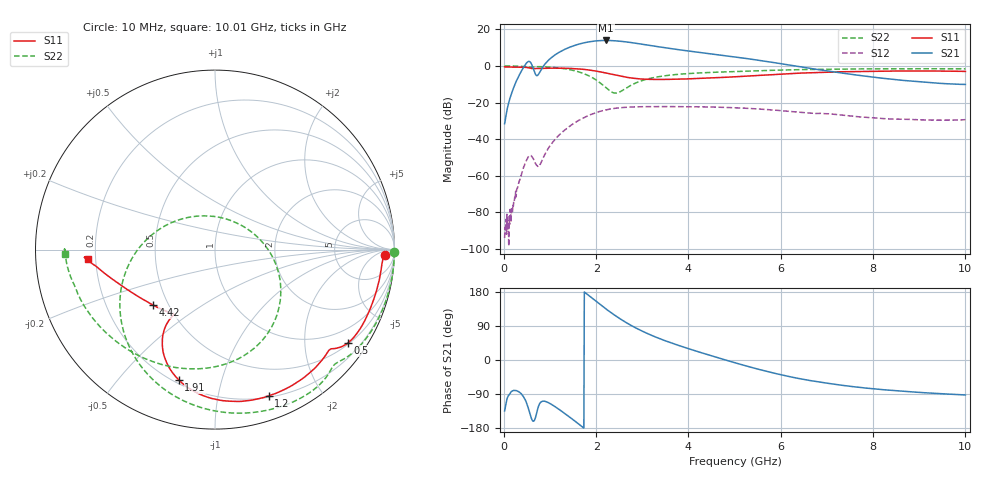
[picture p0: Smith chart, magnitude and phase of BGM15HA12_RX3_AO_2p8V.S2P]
!Agilent Technologies,E5071C,MY46317100,A.11.08
!Date: Fri Dec 12 16:24:41 2014
!Data & Calibration Information:
!Freq	S11:SOLT2(ON)	S21:SOLT2(ON)	S12:SOLT2(ON)	S22:SOLT2(ON)
!PortZ  Port1:50+j0  Port2:50+j0
!Above PortZ is port z conversion or system Z0 setting when saving the data.
!When reading, reference impedance value at option line is always used.
# Hz S MA R 50
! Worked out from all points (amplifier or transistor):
!   1001 points, 10 MHz to 10.01 GHz, reference 50 ohm
!   highest |S21| = 13.9 dB at 2.21 GHz (marker M1)
!   |S21| within 3 dB of that: 1.494 GHz to 3.235 GHz (1.741 GHz wide, 73.6 % of centre)
!   unconditionally stable (mu >= 1): start of sweep to 17.11 MHz; 20.36 MHz to end of sweep
!   at 1.67 GHz: K = 1.22, MAG = 17.8 dB, |S12| = -29.0 dB
!   at 5.01 GHz: K = 1.73, MAG = 8.9 dB, |S12| = -22.9 dB
!   at 10.01 GHz: K = 7.64, MAG = -2.2 dB, |S12| = -29.3 dB
!   lowest NFmin = 0.98 dB at 1.45 GHz
!   S11 on the Smith chart (normalised r, x): 10 MHz: 26, -16; 500 MHz: 0.54, -3.08; 1.2 GHz: 0.21, -1.41; 1.91 GHz: 0.22, -0.74; 4.42 GHz: 0.41, -0.32; 10.01 GHz: 0.17, -0.04
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1e7  0.9452 -2.0  0.02643 -134.5  1.985e-05 63.5  0.9999 -0.8
1.5e8  0.9307 -10.6  0.1618 -84.1  5.476e-05 161.1  0.9964 -12.4
3.5e8  0.9243 -24.1  0.6356 -86.6  0.0008685 -166.3  0.9796 -29.1
5e8  0.9045 -35.1  1.252 -118.1  0.00289 169.3  0.9383 -40.9
5.8e8  0.8611 -39.8  1.219 -150.0  0.003555 136.9  0.9256 -45.0
6.7e8  0.8489 -42.5  0.632 -155.6  0.002279 122.1  0.9499 -51.4
8.9e8  0.8665 -53.4  1.141 -109.2  0.003959 -175.2  0.9434 -70.4
1.2e9  0.8687 -69.8  2.378 -131.0  0.01314 172.9  0.8758 -97.3
1.44e9  0.8537 -82.3  3.312 -152.3  0.02335 156.4  0.7838 -119.5
1.68e9  0.8163 -94.6  4.133 -174.9  0.03585 138.1  0.6488 -144.0
1.91e9  0.7537 -105.6  4.695 163.0  0.04869 119.8  0.4813 -171.2
2.21e9  0.6399 -116.8  4.97 134.7  0.06309 96.0  0.2537 138.1
2.42e9  0.5603 -121.3  4.848 116.4  0.0699 80.7  0.1811 74.9
2.64e9  0.494 -123.0  4.548 99.3  0.07402 66.4  0.2447 17.4
2.98e9  0.4392 -122.4  3.948 77.1  0.07685 48.4  0.3924 -23.4
3.35e9  0.4266 -122.8  3.341 57.6  0.07758 32.8  0.508 -47.9
3.81e9  0.4362 -127.6  2.754 37.5  0.077 16.8  0.5952 -69.5
4.42e9  0.4635 -138.3  2.193 14.0  0.0757 -1.5  0.6597 -93.1
5.01e9  0.506 -149.6  1.76 -7.3  0.07199 -17.7  0.7044 -114.3
6.68e9  0.6551 -170.7  0.8445 -55.0  0.05119 -49.9  0.8015 -161.5
8.35e9  0.724 -176.2  0.4404 -79.6  0.03568 -63.1  0.8348 -178.8
1.001e10  0.7084 -175.8  0.312 -92.3  0.03413 -61.8  0.8351 -178.2
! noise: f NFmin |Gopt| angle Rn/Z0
1.45e+09  0.981  0.451  70.49  0.2065
1.5e+09  0.999  0.442  71.06  0.205
1.7e+09  1.025  0.4184  76.07  0.2003
1.85e+09  1.04  0.4256  81.79  0.202
1.9e+09  1.062  0.4219  84.31  0.1948
2.1e+09  1.084  0.4312  87.77  0.1896
2.3e+09  1.123  0.4329  92.23  0.1842
2.4e+09  1.137  0.4336  94.7  0.1824
2.6e+09  1.16  0.4407  99.34  0.1789
2.75e+09  1.204  0.4383  102.8  0.1753
